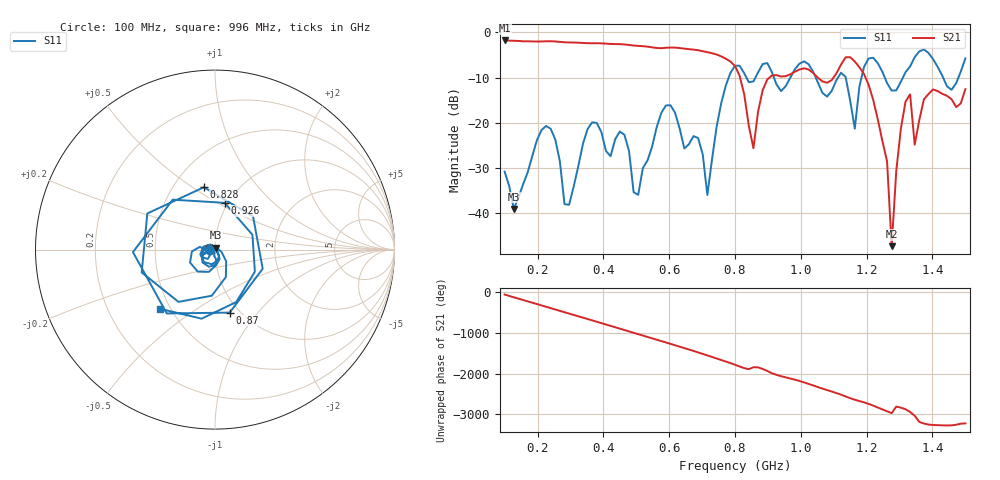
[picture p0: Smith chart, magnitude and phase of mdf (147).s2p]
! NanoVNA-App
! Date: 2025-09-25 15:39:34
! Start: 100MHz Stop: 1,5GHz Points: 101
! S-Parameter data: F S11 S21 S12 S22
# Hz S RI R 50
!  Frequency  S11_Real  S11_Imag  S21_Real  S21_Imag  S12_Real  S12_Imag  S22_Real  S22_Imag
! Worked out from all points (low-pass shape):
!   101 points, 100 MHz to 1.5 GHz, reference 50 ohm
!   highest |S21| = -1.80 dB at 100 MHz (marker M1); lowest = -47.2 dB at 1.276 GHz (marker M2)
!   |S21| within 3 dB of the highest: start of sweep to 739.2 MHz
!   lowest |S11| = -39.0 dB at 128 MHz (marker M3), VSWR 1.02, Z = 50.3 + j1.07 ohm
!   |S11| at or under -10 dB: start of sweep to 780.9 MHz; 918.3 MHz to 968.2 MHz (49.91 MHz wide, 5.29 % of centre); 1.045 GHz to 1.113 GHz (67.69 MHz wide, 6.27 % of centre)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
!   S12 and S22 are empty: the file has one direction only
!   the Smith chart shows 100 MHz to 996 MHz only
!   S11 on the Smith chart (normalised r, x): 100 MHz: 0.94, -0.01; 828 MHz: 0.70, +0.56; 870 MHz: 0.90, -0.73; 926 MHz: 0.97, +0.54; 996 MHz: 0.44, -0.36
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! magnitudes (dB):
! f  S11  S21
! 100 MHz  -30.8  -1.8
! 128 MHz  -39.0  -1.9
! 212 MHz  -21.6  -2.0
! 282 MHz  -38.0  -2.2
! 338 MHz  -24.6  -2.4
! 464 MHz  -22.6  -2.7
! 506 MHz  -35.9  -3.0
! 576 MHz  -17.8  -3.5
! 716 MHz  -35.9  -4.4
! 800 MHz  -7.4  -7.4
! 828 MHz  -9.0  -13.7
! 870 MHz  -8.9  -17.6
! 926 MHz  -11.5  -9.5
! 996 MHz  -6.9  -8.2
! 1.038 GHz  -8.8  -9.0
! 1.164 GHz  -21.3  -6.5
! 1.192 GHz  -7.7  -9.2
! 1.262 GHz  -11.2  -28.5
! 1.276 GHz  -12.9  -47.2
! 1.318 GHz  -8.8  -15.3
! 1.346 GHz  -5.5  -24.8
! 1.5 GHz  -5.8  -12.6
